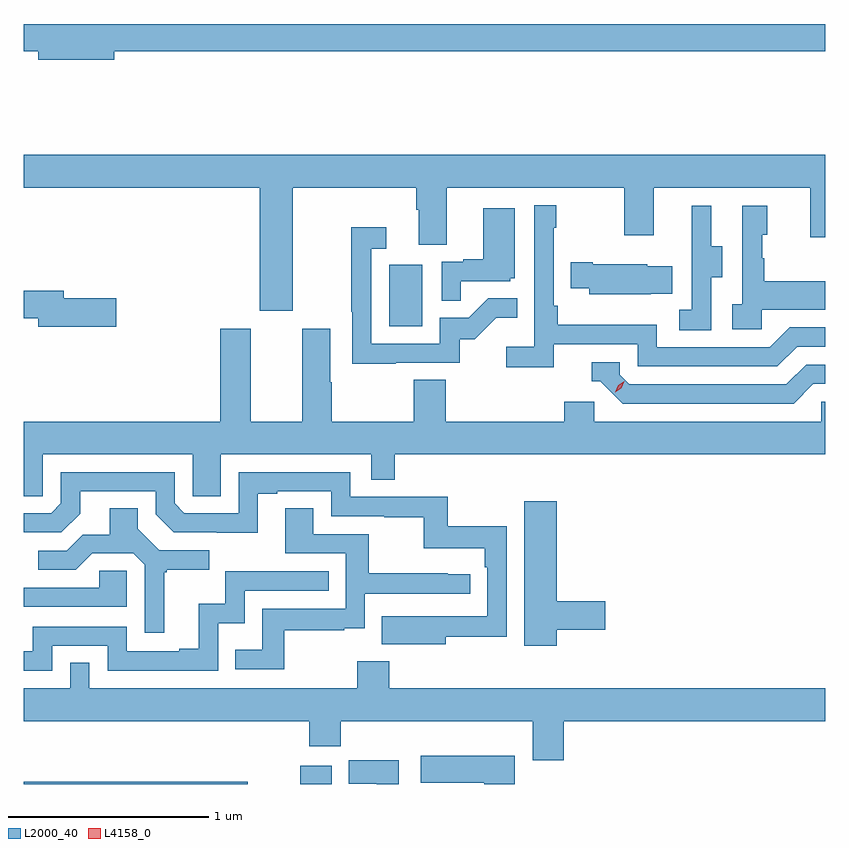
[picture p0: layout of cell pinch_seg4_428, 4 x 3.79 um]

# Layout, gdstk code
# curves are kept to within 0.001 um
import gdstk
lib = gdstk.Library(unit=1e-6, precision=1e-09)
def R(c, l, rs):  # rectangles x0, y0, x1, y1
    for r in rs: c.add(gdstk.rectangle(r[:2], r[2:], *l))
def P(c, l, *ps):  # polygons
    for p in ps: c.add(gdstk.Polygon(p, *l))
L2000_40 = (2000, 40)
L4158_0 = (4158, 0)

pinch_seg4_428 = lib.new_cell('pinch_seg4_428')
R(pinch_seg4_428, L2000_40, [(948.266,781.855,949.384,781.867), (949.646,781.855,949.804,781.945), (950.09,784.14,950.254,784.447)])
P(pinch_seg4_428, L2000_40, [(948.718,785.512),(952.266,785.512),(952.266,785.648),(948.266,785.648),(948.266,785.512),(948.338,785.512),(948.338,785.47),(948.718,785.47)],
  [(949.609,784.832),(950.225,784.832),(950.225,784.72),(950.237,784.72),(950.237,784.546),(950.377,784.546),(950.377,784.832),(951.262,784.832),(951.262,784.593),(951.409,784.593),(951.409,784.832),(952.19,784.832),(952.19,784.584),(952.266,784.584),(952.266,784.996),(948.266,784.996),(948.266,784.832),(949.445,784.832),(949.445,784.218),(949.609,784.218)],
  [(950.912,784.05),(951.33,784.05),(951.33,783.939),(952.027,783.939),(952.126,784.038),(952.266,784.038),(952.266,784.134),(952.089,784.134),(951.99,784.035),(951.426,784.035),(951.426,784.147),(950.93,784.147),(950.93,784.243),(950.91,784.243),(950.91,784.631),(950.923,784.631),(950.923,784.744),(950.814,784.744),(950.814,784.036),(950.673,784.036),(950.673,783.934),(950.912,783.934)],
  [(951.696,784.384),(951.751,784.384),(951.751,784.539),(951.697,784.539),(951.697,784.741),(951.599,784.741),(951.599,784.527),(951.6,784.527),(951.6,784.223),(951.537,784.223),(951.537,784.12),(951.696,784.12)],
  [(951.948,784.223),(952.266,784.223),(952.266,784.363),(951.961,784.363),(951.961,784.478),(951.951,784.478),(951.951,784.596),(951.976,784.596),(951.976,784.741),(951.852,784.741),(951.852,784.25),(951.801,784.25),(951.801,784.125),(951.948,784.125)],
  [(950.447,784.365),(950.694,784.365),(950.694,784.38),(950.716,784.38),(950.716,784.729),(950.558,784.729),(950.558,784.474),(950.459,784.474),(950.459,784.461),(950.352,784.461),(950.352,784.267),(950.447,784.267)],
  [(950.123,783.957),(950.442,783.957),(950.442,784.074),(950.518,784.074),(950.625,784.181),(950.729,784.181),(950.729,784.28),(950.585,784.28),(950.487,784.182),(950.343,784.182),(950.343,784.053),(950.001,784.053),(950.001,784.527),(950.074,784.527),(950.074,784.633),(949.9,784.633),(949.9,784.213),(949.905,784.213),(949.905,783.952),(950.123,783.952)],
  [(951.395,784.301),(951.503,784.301),(951.503,784.438),(951.378,784.438),(951.378,784.45),(951.106,784.45),(951.106,784.458),(950.995,784.458),(950.995,784.328),(951.089,784.328),(951.089,784.298),(951.395,784.298)],
  [(948.727,784.28),(948.466,784.28),(948.466,784.316),(948.266,784.316),(948.266,784.18),(948.338,784.18),(948.338,784.138),(948.727,784.138)],
  [(948.36,783.5),(949.11,783.5),(949.11,783.292),(949.249,783.292),(949.249,783.5),(950.001,783.5),(950.001,783.373),(950.117,783.373),(950.117,783.5),(952.266,783.5),(952.266,783.762),(952.245,783.762),(952.245,783.664),(951.114,783.664),(951.114,783.762),(950.963,783.762),(950.963,783.664),(950.372,783.664),(950.372,783.872),(950.212,783.872),(950.212,783.664),(949.803,783.664),(949.803,783.86),(949.795,783.86),(949.795,784.126),(949.655,784.126),(949.655,783.664),(949.399,783.664),(949.399,784.126),(949.247,784.126),(949.247,783.664),(948.266,783.664),(948.266,783.292),(948.36,783.292)],
  [(952.207,783.852),(952.266,783.852),(952.266,783.948),(952.17,783.948),(952.071,783.849),(951.288,783.849),(951.24,783.897),(951.24,783.96),(951.101,783.96),(951.101,783.864),(951.144,783.864),(951.255,783.753),(952.108,783.753)],
  [(950.371,782.59),(950.676,782.59),(950.676,783.142),(950.383,783.142),(950.383,783.288),(949.896,783.288),(949.896,783.411),(949.338,783.411),(949.338,783.207),(949.068,783.207),(949.02,783.255),(949.02,783.411),(948.45,783.411),(948.45,783.255),(948.402,783.207),(948.266,783.207),(948.266,783.111),(948.453,783.111),(948.547,783.205),(948.547,783.315),(948.924,783.315),(948.924,783.201),(949.014,783.111),(949.435,783.11),(949.435,783.303),(949.531,783.303),(949.531,783.315),(949.8,783.315),(949.8,783.192),(950.065,783.192),(950.065,783.187),(950.262,783.187),(950.262,783.032),(950.567,783.032),(950.567,782.936),(950.58,782.936),(950.58,782.691),(950.053,782.692),(950.053,782.552),(950.371,782.552)],
  [(950.926,782.626),(951.169,782.626),(951.169,782.768),(950.926,782.768),(950.926,783.265),(950.765,783.265),(950.765,782.544),(950.926,782.544)],
  [(949.567,782.622),(949.865,782.622),(949.865,782.633),(949.968,782.633),(949.968,782.805),(950.494,782.805),(950.494,782.901),(950.381,782.901),(950.381,782.906),(949.988,782.906),(949.988,783.102),(949.711,783.102),(949.711,783.23),(949.571,783.23),(949.571,783.006),(949.872,783.006),(949.872,782.73),(949.456,782.73),(949.456,782.524),(949.321,782.524),(949.321,782.427),(949.567,782.427)],
  [(948.967,782.913),(948.979,782.913),(948.979,782.924),(949.192,782.924),(949.192,783.021),(948.942,783.021),(948.835,783.128),(948.835,783.23),(948.695,783.23),(948.695,783.098),(948.56,783.098),(948.48,783.018),(948.339,783.018),(948.339,782.925),(948.526,782.925),(948.607,783.006),(948.813,783.006),(948.87,782.949),(948.87,782.61),(948.967,782.61)],
  [(948.78,782.919),(948.643,782.919),(948.643,782.835),(948.266,782.835),(948.266,782.739),(948.78,782.739)],
  [(948.408,782.544),(948.684,782.544),(948.684,782.421),(949.236,782.421),(949.236,782.657),(949.368,782.657),(949.368,782.82),(949.787,782.82),(949.787,782.916),(949.272,782.916),(949.272,782.755),(949.139,782.755),(949.139,782.53),(949.043,782.53),(949.043,782.517),(948.78,782.517),(948.78,782.64),(948.312,782.64),(948.312,782.517),(948.266,782.517),(948.266,782.421),(948.408,782.421)],
  [(950.96,782.168),(952.266,782.168),(952.266,782.332),(950.09,782.332),(950.09,782.467),(949.93,782.467),(949.93,782.332),(948.594,782.332),(948.594,782.459),(948.498,782.459),(948.498,782.332),(948.266,782.332),(948.266,782.168),(949.691,782.168),(949.691,782.044),(949.847,782.044),(949.847,782.168),(950.807,782.168),(950.807,781.974),(950.96,781.974)],
  [(950.716,781.996),(950.247,781.996),(950.247,781.862),(950.564,781.862),(950.564,781.855),(950.716,781.855)],
  [(950.137,781.974),(949.889,781.974),(949.889,781.856),(950.027,781.856),(950.027,781.855),(950.137,781.855)])
P(pinch_seg4_428, L4158_0, [(951.218,783.81),(951.218,783.811),(951.233,783.844),(951.263,783.864),(951.263,783.864),(951.263,783.864),(951.248,783.831),(951.218,783.81)])

lib.write_gds('pinch_seg4_428.gds')
